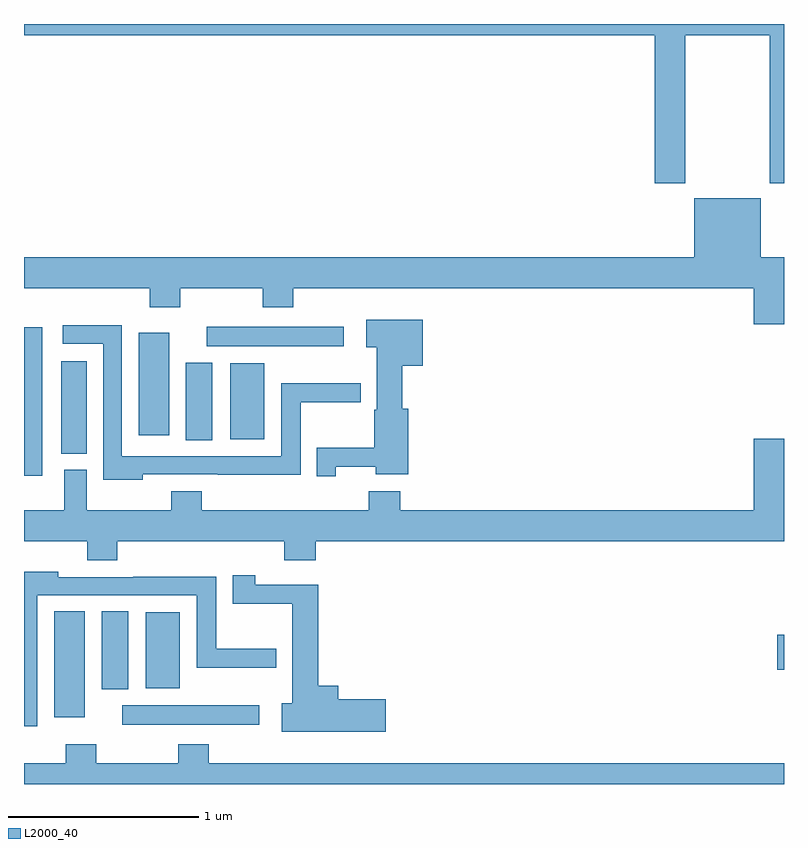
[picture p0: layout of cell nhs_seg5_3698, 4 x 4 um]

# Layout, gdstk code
import gdstk
lib = gdstk.Library(unit=1e-6, precision=1e-09)
def R(c, l, rs):  # rectangles x0, y0, x1, y1
    for r in rs: c.add(gdstk.rectangle(r[:2], r[2:], *l))
def P(c, l, *ps):  # polygons
    for p in ps: c.add(gdstk.Polygon(p, *l))
L2000_40 = (2000, 40)

nhs_seg5_3698 = lib.new_cell('nhs_seg5_3698')
R(nhs_seg5_3698, L2000_40, [(329.517,873.11,330.238,873.214), (329.159,873.15,329.32,873.707), (329.408,873.299,329.548,873.707), (329.642,873.302,329.821,873.703), (332.964,873.401,333,873.584), (329.195,874.537,329.329,875.023), (329.852,874.609,329.992,875.017), (330.086,874.613,330.265,875.014), (329.603,874.635,329.764,875.173), (329.961,875.102,330.682,875.206)])
P(nhs_seg5_3698, L2000_40, [(332.481,876.74),(332.926,876.74),(332.926,875.961),(333,875.961),(333,876.799),(329,876.799),(329,876.74),(332.321,876.74),(332.321,875.961),(332.481,875.961)],
  [(333,875.572),(332.878,875.572),(332.878,875.881),(332.528,875.881),(332.528,875.572),(329,875.572),(329,875.408),(329.663,875.408),(329.663,875.309),(329.823,875.309),(329.823,875.408),(330.256,875.408),(330.256,875.309),(330.416,875.309),(330.416,875.408),(332.84,875.408),(332.84,875.22),(333,875.22)],
  [(330.642,874.468),(330.851,874.468),(330.851,874.43),(331.022,874.43),(331.022,874.774),(330.992,874.774),(330.992,875),(331.099,875),(331.099,875.242),(330.801,875.242),(330.801,875.098),(330.857,875.098),(330.857,874.77),(330.844,874.77),(330.844,874.569),(330.542,874.569),(330.542,874.419),(330.642,874.419)],
  [(329.625,874.428),(330.019,874.428),(330.019,874.427),(330.457,874.427),(330.457,874.807),(330.772,874.807),(330.772,874.907),(330.353,874.907),(330.353,874.524),(329.514,874.524),(329.514,875.213),(329.205,875.213),(329.205,875.115),(329.418,875.115),(329.418,874.4),(329.625,874.4)],
  [(329.097,875.203),(329,875.203),(329,875.103),(329.001,875.103),(329.001,874.583),(329,874.583),(329,874.422),(329.097,874.422)],
  [(329.492,874.076),(330.371,874.076),(330.371,873.977),(330.536,873.977),(330.536,874.076),(333,874.076),(333,874.615),(332.84,874.615),(332.84,874.24),(330.98,874.24),(330.98,874.339),(330.815,874.339),(330.815,874.24),(329.936,874.24),(329.936,874.339),(329.776,874.339),(329.776,874.24),(329.329,874.24),(329.329,874.452),(329.213,874.452),(329.213,874.24),(329,874.24),(329,874.076),(329.332,874.076),(329.332,873.977),(329.492,873.977)],
  [(329.07,873.792),(329.909,873.792),(329.909,873.41),(330.328,873.41),(330.328,873.51),(330.013,873.51),(330.013,873.89),(329.575,873.89),(329.575,873.888),(329.181,873.888),(329.181,873.916),(329,873.916),(329,873.104),(329.07,873.104)],
  [(330.904,873.245),(330.655,873.245),(330.655,873.316),(330.548,873.316),(330.548,873.847),(330.216,873.847),(330.216,873.898),(330.098,873.898),(330.098,873.748),(330.413,873.748),(330.413,873.224),(330.357,873.224),(330.357,873.074),(330.904,873.074)],
  [(333,872.908),(329.972,872.908),(329.972,873.007),(329.812,873.007),(329.812,872.908),(329.379,872.908),(329.379,873.007),(329.219,873.007),(329.219,872.908),(329,872.908),(329,872.799),(333,872.799)])

lib.write_gds('nhs_seg5_3698.gds')
